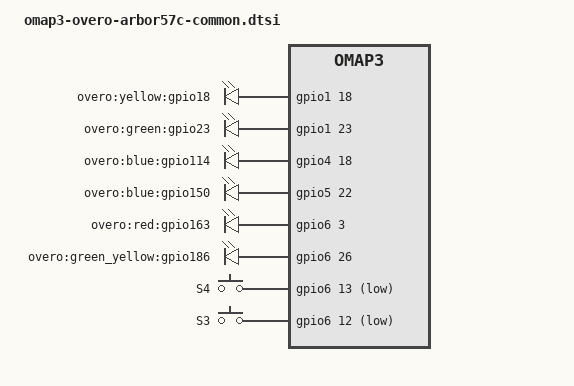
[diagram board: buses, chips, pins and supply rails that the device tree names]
/*
 * Copyright (C) 2015 Gumstix, Inc. - https://www.gumstix.com/
 *
 * This program is free software; you can redistribute it and/or modify
 * it under the terms of the GNU General Public License version 2 as
 * published by the Free Software Foundation.
 */

/*
 * The Arbor50C and Arbor70C expansion boards differ only by the supported
 * screen size and are manufactured by Gumstix Inc.
 */

#include "omap3-overo-common-peripherals.dtsi"
#include "omap3-overo-common-lcd43c.dtsi"

#include <dt-bindings/input/input.h>

&omap3_pmx_core {
        led_pins: pinmux_led_pins {
                pinctrl-single,pins = <
                        OMAP3_CORE1_IOPAD(0x2138, PIN_OUTPUT | MUX_MODE4)	/* csi2_dx1.gpio_114 */
                        OMAP3_CORE1_IOPAD(0x2180, PIN_OUTPUT | MUX_MODE4)	/* uart1_cts.gpio_150 */
                        OMAP3_CORE1_IOPAD(0x219A, PIN_OUTPUT | MUX_MODE4)	/* uart3_cts_rctx.gpio_163 */
                        OMAP3_CORE1_IOPAD(0x21E2, PIN_OUTPUT | MUX_MODE4)	/* sys_clkout2.gpio_186 */
                >;
        };

        button_pins: pinmux_button_pins {
                pinctrl-single,pins = <
                        OMAP3_CORE1_IOPAD(0x21CA, PIN_INPUT_PULLUP | MUX_MODE4)	/* mcspi1_simo.gpio_172 */
                        OMAP3_CORE1_IOPAD(0x21CC, PIN_INPUT_PULLUP | MUX_MODE4)	/* mcspi1_somi.gpio_173 */
                >;
        };
};

&omap3_pmx_core2 {
        led_pins2: pinmux_led_pins2 {
                pinctrl-single,pins = <
                        OMAP3630_CORE2_IOPAD(0x25E4, PIN_OUTPUT | MUX_MODE4)	/* etx_d4.gpio_18 */
                        OMAP3630_CORE2_IOPAD(0x25EE, PIN_OUTPUT | MUX_MODE4)	/* etx_d9.gpio_23 */
                >;
        };
};

&captouch {
	touchscreen-size-x = <800>;
	touchscreen-size-y = <480>;
};

/ {
	leds {
		compatible = "gpio-leds";
		pinctrl-names = "default";
		pinctrl-0 = <&led_pins &led_pins2>;
		gpio18 {
			label = "overo:yellow:gpio18";
			gpios = <&gpio1 18 GPIO_ACTIVE_HIGH>;	/* gpio_18 */
			linux,default-trigger = "heartbeat";
		};
		// shared with S1
		gpio23 {
			label = "overo:green:gpio23";
			gpios = <&gpio1 23 GPIO_ACTIVE_HIGH>;	/* gpio_23 */
			linux,default-trigger = "heartbeat";
		};
		// Error---this is an input-only GPIO
		gpio114 {
			label = "overo:blue:gpio114";
			gpios = <&gpio4 18 GPIO_ACTIVE_HIGH>;	/* gpio_114 */
			linux,default-trigger = "heartbeat";
		};
		gpio150 {
			label = "overo:blue:gpio150";
			gpios = <&gpio5 22 GPIO_ACTIVE_HIGH>;	/* gpio_150 */
			linux,default-trigger = "heartbeat";
		};
		gpio163 {
			label = "overo:red:gpio163";
			gpios = <&gpio6 3 GPIO_ACTIVE_HIGH>;	/* gpio_163 */
			linux,default-trigger = "heartbeat";
		};
		// Wired to two LEDs
		gpio186 {
			label = "overo:green_yellow:gpio186";
			gpios = <&gpio6 26 GPIO_ACTIVE_HIGH>;	/* gpio_186 */
			linux,default-trigger = "heartbeat";
		};
	};

	gpio_keys {
		compatible = "gpio-keys";
		pinctrl-names = "default";
		pinctrl-0 = <&button_pins>;
		#address-cells = <1>;
		#size-cells = <0>;
		// Shared with an LED on GPIO #23
		//s1@23 {
		//	label = "S1";
		//	linux,code = <BTN_1>;
		//	gpios = <&gpio1 23 GPIO_ACTIVE_LOW>;	/* gpio_23 */
		//	gpio-key,wakeup;
		//};
		s4@173 {
			label = "S4";
			linux,code = <BTN_2>;
			gpios = <&gpio6 13 GPIO_ACTIVE_LOW>;	/* gpio_173 */
			gpio-key,wakeup;
		};
		s3@172 {
			label = "S3";
			linux,code = <BTN_1>;
			gpios = <&gpio6 12 GPIO_ACTIVE_LOW>;	/* gpio_172 */
			gpio-key,wakeup;
		};
	};
};

//#include "omap-gpmc-smsc9221.dtsi"
//
//&gpmc {
//	ranges = <5 0 0x2c000000 0x1000000>;	/* CS5 */
//
//	ethernet@gpmc {
//		reg = <5 0 0xff>;
//		interrupt-parent = <&gpio6>;
//		interrupts = <16 IRQ_TYPE_LEVEL_LOW>;	/* GPIO 176 */
//	};
//};

&lis33de {
	status = "disabled";
};

